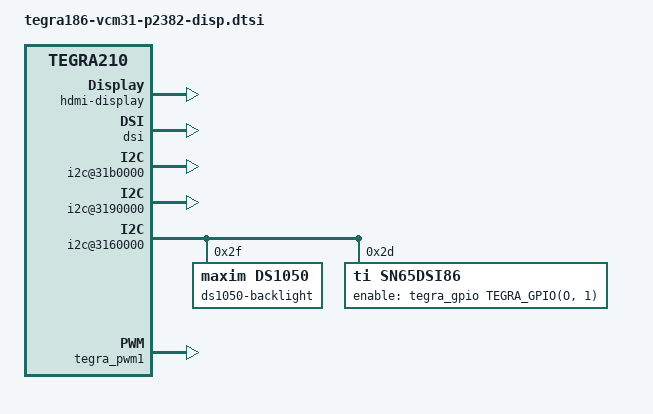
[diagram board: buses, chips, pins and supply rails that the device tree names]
/*
 * tegra186-vcm31-p2382-disp.dtsi: VCM3.1 based P2382(sunstreaker)
 * display dtsi.
 *
 * Copyright (c) 2015-2016, NVIDIA CORPORATION.  All rights reserved.
 *
 * This program is free software; you can redistribute it and/or modify
 * it under the terms of the GNU General Public License as published by
 * the Free Software Foundation; version 2 of the License.
 *
 * This program is distributed in the hope that it will be useful, but WITHOUT
 * ANY WARRANTY; without even the implied warranty of MERCHANTABILITY or
 * FITNESS FOR A PARTICULAR PURPOSE.  See the GNU General Public License for
 * more details.
 */

#include <dt-bindings/display/tegra-dc.h>
#include <dt-bindings/display/tegra-panel.h>

#include "panel-s-wuxga-8-0.dtsi"
#include "tegra210-display-p2393-0000-a00-panel-dsi-1080p.dtsi"
#include "tegra210-display-p2393-0000-a00-panel-dsi-25x16.dtsi"
#include "tegra186-hdmi.dtsi"
#include "tegra186-dp.dtsi"

/ {
	host1x {
		status = "okay";

		nvdisplay@15200000 {
			status = "okay";
			nvidia,dc-flags = <TEGRA_DC_FLAG_ENABLED>;
			nvidia,emc-clk-rate = <300000000>;
			nvidia,fb-bpp = <32>; /* bits per pixel */
			nvidia,fb-win = <0>;
			nvidia,dc-ctrlnum = <0>;
			nvidia,dc-or-node = "/host1x/sor";
		};

		nvdisplay@15210000 {
			status = "okay";
			nvidia,dc-flags = <TEGRA_DC_FLAG_ENABLED>;
			nvidia,emc-clk-rate = <300000000>;
			nvidia,fb-bpp = <32>; /* bits per pixel */
			nvidia,fb-win = <3>;
			nvidia,dc-ctrlnum = <1>;
			nvidia,dc-or-node = "/host1x/sor1";
		};

		sor{
			status = "okay";
			nvidia,xbar-ctrl = <2 1 0 3 4>;
			nvidia,ddc-i2c-bus = <&dp_aux_ch0_i2c>;
			//nvidia,hpd-gpio = <&tegra_gpio TEGRA_GPIO(P, 0) 0>;
			dp-display {
				status = "okay";
				compatible = "dp, display";
				nvidia,is_ext_dp_panel = <1>;

				disp-default-out {
					nvidia,out-type = <TEGRA_DC_OUT_DP>;
					nvidia,out-flags = <TEGRA_DC_OUT_HOTPLUG_HIGH>;
					nvidia,out-parent-clk = "plld3";
					nvidia,out-xres = <4096>;
					nvidia,out-yres = <2160>;
				};
				/* default display timing for test
				 * (only the first entry is effective) */
/*
				display-timings {
					1920x1080-32 {
						clock-frequency = <148500000>;
						hactive = <1920>;
						vactive = <1080>;
						hfront-porch = <88>;
						hback-porch = <148>;
						hsync-len = <44>;
						vfront-porch = <4>;
						vback-porch = <36>;
						vsync-len = <5>;
						nvidia,h-ref-to-sync = <1>;
						nvidia,v-ref-to-sync = <1>;
					};
				};
*/
                                lt-data {
					tegra-dp-vs-regs {
						/* postcursor2 L0 */
						pc2_l0 = <
							/* pre-emphasis: L0, L1, L2, L3 */
							0x13 0x19 0x1e 0x28 /* voltage swing: L0 */
							0x1e 0x25 0x2d /* L1 */
							0x28 0x32 /* L2 */
							0x3c /* L3 */
						>;
						/* postcursor2 L1 */
						pc2_l1 = <
							0x12 0x17 0x1b 0x25
							0x1c 0x23 0x2a
							0x25 0x2f
							0x39
						>;
						/* postcursor2 L2 */
						pc2_l2 = <
							0x12 0x16 0x1a 0x22
							0x1b 0x20 0x27
							0x24 0x2d
							0x36
						>;
						/* postcursor2 L3 */
						pc2_l3 = <
							0x11 0x14 0x17 0x1f
							0x19 0x1e 0x24
							0x22 0x2a
							0x32
						>;
					};
					tegra-dp-pe-regs {
						/* postcursor2 L0 */
						pc2_l0 = <
							/* pre-emphasis: L0, L1, L2, L3 */
							0x00 0x08 0x12 0x24 /* voltage swing: L0 */
							0x01 0x0e 0x1d /* L1 */
							0x01 0x13 /* L2 */
							0x00 /* L3 */
						>;
						/* postcursor2 L1 */
						pc2_l1 = <
							0x00 0x08 0x12 0x24
							0x00 0x0e 0x1d
							0x00 0x13
							0x00
						>;
						/* postcursor2 L2 */
						pc2_l2 = <
							0x00 0x08 0x12 0x24
							0x00 0x0e 0x1d
							0x00 0x13
							0x00
						>;
						/* postcursor2 L3 */
						pc2_l3 = <
							0x00 0x08 0x12 0x24
							0x00 0x0e 0x1d
							0x00 0x13
							0x00
						>;
					};
					tegra-dp-pc-regs {
						/* postcursor2 L0 */
						pc2_l0 = <
							/* pre-emphasis: L0, L1, L2, L3 */
							0x00 0x00 0x00 0x00 /* voltage swing: L0 */
							0x00 0x00 0x00 /* L1 */
							0x00 0x00 /* L2 */
							0x00 /* L3 */
						>;
						/* postcursor2 L1 */
						pc2_l1 = <
							0x02 0x02 0x04 0x05
							0x02 0x04 0x05
							0x04 0x05
							0x05
						>;
						/* postcursor2 L2 */
						pc2_l2 = <
							0x04 0x05 0x08 0x0b
							0x05 0x09 0x0b
							0x08 0x0a
							0x0b
						>;
						/* postcursor2 L3 */
						pc2_l3 = <
							0x05 0x09 0x0b 0x12
							0x09 0x0d 0x12
							0x0b 0x0f
							0x12
						>;
					};
					tegra-dp-tx-pu {
						/* postcursor2 L0 */
						pc2_l0 = <
							/* pre-emphasis: L0, L1, L2, L3 */
							0x20 0x30 0x40 0x60 /* voltage swing: L0 */
							0x30 0x40 0x60 /* L1 */
							0x40 0x60 /* L2 */
							0x60 /* L3 */
						>;
						/* postcursor2 L1 */
						pc2_l1 = <
							0x20 0x20 0x30 0x50
							0x30 0x40 0x50
							0x40 0x50
							0x60
						>;
						/* postcursor2 L2 */
						pc2_l2 = <
							0x20 0x20 0x30 0x40
							0x30 0x30 0x40
							0x40 0x50
							0x60
						>;
						/* postcursor2 L3 */
						pc2_l3 = <
							0x20 0x20 0x20 0x40
							0x30 0x30 0x40
							0x40 0x40
							0x60
						>;
					};
                                };//lt-data
			};
			hdmi-display {
				status = "disabled";
			};
		};

		sor1 {
			status = "okay";
			nvidia,xbar-ctrl = <2 1 0 3 4>;
			nvidia,ddc-i2c-bus = <&dp_aux_ch1_i2c>;
			nvidia,hpd-gpio = <&tegra_gpio TEGRA_GPIO(P, 1) 1>;

			hdmi-display {
				status = "okay";
				compatible = "hdmi,display";

				disp-default-out {
					nvidia,out-type = <TEGRA_DC_OUT_HDMI>;
					nvidia,out-flags = <TEGRA_DC_OUT_HOTPLUG_LOW>;
					nvidia,out-parent-clk = "plld2";
					nvidia,out-align = <TEGRA_DC_ALIGN_MSB>;
					nvidia,out-order = <TEGRA_DC_ORDER_RED_BLUE>;
					nvidia,out-xres = <4096>;
					nvidia,out-yres = <2160>;
				};
				/* default display timing for test
				 * (only the first entry is effective) */
/*
				display-timings {
					1920x1080-32 {
						clock-frequency = <148500000>;
						hactive = <1920>;
						vactive = <1080>;
						hfront-porch = <88>;
						hback-porch = <148>;
						hsync-len = <44>;
						vfront-porch = <4>;
						vback-porch = <36>;
						vsync-len = <5>;
						nvidia,h-ref-to-sync = <1>;
						nvidia,v-ref-to-sync = <1>;
					};
				};
*/
			};

			prod-settings {
				prod_c_54M {
					prod = <
						0x0000058c 0xf0f0f0ff 0x05050000
						0x00000590 0xff0fe0ff 0x00301300
						0x00000598 0x00fff00f 0x38000440
						0x00000138 0x00000000 0x333A3A3A
						0x00000148 0x00000000 0x00000000
						0x000005a0 0xffbf00ff 0x00401000
						0x000005a8 0x00ffffff 0x52000000
					>;
				};
				prod_c_75M {
					prod = <
						0x0000058c 0xf0f0f0ff 0x05050100
						0x00000590 0xff0fe0ff 0x00301300
						0x00000598 0x00fff00f 0x38000440
						0x00000138 0x00000000 0x333A3A3A
						0x00000148 0x00000000 0x00000000
						0x000005a0 0xffbf00ff 0x00404000
						0x000005a8 0x00ffffff 0x42000000
					>;
				};
				prod_c_150M {
					prod = <
						0x0000058c 0xf0f0f0ff 0x05050300
						0x00000590 0xff0fe0ff 0x00301300
						0x00000598 0x00fff00f 0x3C002440
						0x00000138 0x00000000 0x33333333
						0x00000148 0x00000000 0x00000000
						0x000005a0 0xffbf00ff 0x00A06600
						0x000005a8 0x00ffffff 0x32000000
					>;
				};
				prod_c_300M {
					prod = <
						0x0000058c 0xf0f0f0ff 0x05050300
						0x00000590 0xff0fe0ff 0x00301300
						0x00000598 0x00fff00f 0x3C000440
						0x00000138 0x00000000 0x333F3F3F
						0x00000148 0x00000000 0x00070707
						0x000005a0 0xffbf00ff 0x00A06600
						0x000005a8 0x00ffffff 0x32000000
					>;
				};
				prod_c_600M {
					prod = <
						0x0000058c 0xf0f0f0ff 0x05050300
						0x00000590 0xff0fe0ff 0x00301300
						0x00000598 0x00fff00f 0x3C000440
						0x00000138 0x00000000 0x333F3F3F
						0x00000148 0x00000000 0x00070707
						0x000005a0 0xffbf00ff 0x00406600
						0x000005a8 0x00ffffff 0x32000000
					>;
				};
			};
		};

		dpaux@155c0000 {
			status = "okay";
		};
		dpaux@15040000 {
			status = "okay";
		};

		dsi {   /* dsi@15300000 */
			status = "okay";
			nvidia,dsi-controller-vs = <DSI_VS_1>;
			panel-s-wuxga-8-0 {
				status = "disabled";
			};
			panel-dsi-1080p-p2382 {  /* p2393 DSI2DP 1920x1080@60 */
				status = "okay";
				nvidia,dsi-video-burst-mode = <TEGRA_DSI_VIDEO_NONE_BURST_MODE>;
				nvidia,dsi-refresh-rate = <60>;
				nvidia,dsi-edp-bridge = <TEGRA_DSI_ENABLE>;
				nvidia,panel-bridge-en-0-gpio = <&tegra_gpio TEGRA_GPIO(O, 1) 0>; /* PO1 */

				/*
				 * for 1920x1080@60Hz@148.5MHz / DSI 4 lanes 445.5MHz HS clk
				 */
				/*
				nvidia,dsi-n-data-lanes = <4>;
				disp-default-out {
					nvidia,out-type = <TEGRA_DC_OUT_DSI>;
					nvidia,out-flags = <TEGRA_DC_OUT_CONTINUOUS_MODE>;
					nvidia,out-parent-clk = "pll_d_out1";
					nvidia,out-xres = <1920>;
					nvidia,out-yres = <1080>;
				};
				display-timings {
					1920x1080-32 {
						clock-frequency = <148500000>;
					};
				};
				*/

				/*
				 * for 1920x1200@60Hz@193.2MHz / DSI 8 lanes 290MHz HS clk
				 * (closest to Quill DSI config. this works without BPMP pll_d preset)
				 */
				nvidia,dsi-n-data-lanes = <8>;
				nvidia,dsi-ganged-type = <TEGRA_DSI_GANGED_SYMMETRIC_LEFT_RIGHT>;
				nvidia,dsi-ganged-swap-links = <0>;
				nvidia,dsi-ganged-write-to-all-links = <1>;
				disp-default-out {
					nvidia,out-type = <TEGRA_DC_OUT_DSI>;
					nvidia,out-flags = <TEGRA_DC_OUT_CONTINUOUS_MODE>;
					nvidia,out-parent-clk = "pll_d_out1";
					nvidia,out-xres = <1920>;
					nvidia,out-yres = <1200>;
				};
				display-timings {
					1920x1080-32 {
						clock-frequency = <193155840>;
						hactive = <1920>;
						vactive = <1200>;
						hfront-porch = <228>;
						hsync-len = <208>;
						hback-porch = <236>;
						vfront-porch = <3>;
						vsync-len = <3>;
						vback-porch = <36>;
						nvidia,h-ref-to-sync = <1>;
						nvidia,v-ref-to-sync = <1>;
					};
				};

			};
			panel-s-wqxga-10-1 {  /* p2393 DSI2DP 2560x1600@60 */
				status = "disabled";
				nvidia,dsi-edp-bridge = <TEGRA_DSI_ENABLE>;
				nvidia,panel-bridge-en-0-gpio = <&tegra_gpio TEGRA_GPIO(O, 1) 0>; /* PO1 */
				nvidia,dsi-n-data-lanes = <8>;
				nvidia,dsi-ganged-type = <TEGRA_DSI_GANGED_SYMMETRIC_LEFT_RIGHT>;
				nvidia,dsi-ganged-swap-links = <0>;
				nvidia,dsi-ganged-write-to-all-links = <1>;
				disp-default-out {
					nvidia,out-type = <TEGRA_DC_OUT_DSI>;
					nvidia,out-flags = <TEGRA_DC_OUT_CONTINUOUS_MODE>;
					nvidia,out-parent-clk = "pll_d_out1";
					nvidia,out-xres = <2560>;
					nvidia,out-yres = <1600>;
				};
				display-timings {
					2560x1600-32 {
						clock-frequency = <268500000>;
						hactive = <2560>;
						vactive = <1600>;
						hfront-porch = <48>;
						hback-porch = <80>;
						hsync-len = <32>;
						vfront-porch = <3>;
						vback-porch = <37>;
						vsync-len = <6>;
						nvidia,h-ref-to-sync = <0>;
						nvidia,v-ref-to-sync = <1>;
					};
				};
			};
		};
	};

	i2c@31b0000 {  //i2c5, dp_aux_ch0_i2c
		status = "okay";
	};
	i2c@3190000 {  //i2c3, dp_aux_ch1_i2c
		status = "okay";
	};

	i2c@3160000 { /* Tegra I2C0 - VCM I2CA */
		ds1050-backlight@2f {
			 compatible = "maxim,ds1050";
			 reg = <0x2f>;
			 status = "okay";
		};
	};

	/*
	 * for P2393 SN65DSI86 DSI-to-DP bridge
	 */
	mipical {
		status = "okay";
	};

	backlight {
		pwms = <&tegra_pwm1 0 40161>;
		panel-s-wuxga-8-0-bl {
			pwms = <&tegra_pwm1 0 40161>;
		};
		panel-s-wqxga-10-1-bl {
			pwms = <&tegra_pwm1 0 40161>;
		};
	};
	tegra_pwm1: pwm@3280000 {
		status = "okay";
	};

	i2c@3160000 { /* GEN1 */
		status = "okay";
		/*
		 * 1920x1080@148.5MHz DSI 4 lanes HS clk 445.5MHz
		 */
		/*
		sn65dsi86@2d {
			compatible = "ti,sn65dsi86";
			reg = <0x2d>;
			status = "okay";
			ti,enable-gpio = <&tegra_gpio TEGRA_GPIO(O, 1) 0>;
			ti,pll-refclk-cfg = <0x4>;
			ti,dsi-cha-clk-range = <0x59>;
			ti,disable-assr = <1>;
			ti,dp-ssc-cfg = <0x30>;
			ti,h-pulse-width-low = <0x2c>;
			ti,h-pulse-width-high = <0x80>;
			ti,v-pulse-width-low = <0x05>;
			ti,v-pulse-width-high = <0x80>;
			ti,h-back-porch = <0x94>;
			ti,v-back-porch = <0x24>;
			ti,h-front-porch = <0x58>;
			ti,v-front-porch = <0x04>;
		};
		*/
		/*
		 * 1920x1200@193.2Hz DSI 8 lanes HS clk 290MHz
		 */
		sn65dsi86@2d {
			compatible = "ti,sn65dsi86";
			reg = <0x2d>;
			status = "okay";
			ti,enable-gpio = <&tegra_gpio TEGRA_GPIO(O, 1) 0>;
			ti,pll-refclk-cfg = <0x4>;
			ti,dsi-cfg1 = <0x80>;
			ti,dsi-cha-clk-range = <0x3a>;
			ti,dsi-chb-clk-range = <0x3a>;
			ti,disable-assr = <1>;
			ti,dp-ssc-cfg = <0x30>;
			ti,video-cha-line-low = <0xc0>;
			ti,video-cha-line-high = <0x03>;
			ti,video-chb-line-low = <0xc0>;
			ti,video-chb-line-high = <0x03>;
			ti,cha-vert-disp-size-low = <0xb0>;
			ti,cha-vert-disp-size-high = <0x4>;
			ti,h-pulse-width-low = <0xd0>;
			ti,h-pulse-width-high = <0x80>;
			ti,v-pulse-width-low = <0x03>;
			ti,v-pulse-width-high = <0x00>;
			ti,h-back-porch = <0xec>;
			ti,v-back-porch = <0x24>;
			ti,h-front-porch = <0xe4>;
			ti,v-front-porch = <0x03>;
		};
		/*
		 * 2560x1600@60Hz DSI 8 lanes
		 */
		/*
		sn65dsi86@2d {
			compatible = "ti,sn65dsi86";
			reg = <0x2d>;
			status = "okay";
			ti,enable-gpio = <&tegra_gpio TEGRA_GPIO(O, 1) 0>;
			ti,pll-refclk-cfg = <0x4>;
			ti,dsi-cfg1 = <0x80>;
			ti,dsi-cha-clk-range = <0x50>;
			ti,dsi-chb-clk-range = <0x50>;
			ti,disable-assr = <1>;
			ti,dp-ssc-cfg = <0x30>;
			ti,video-cha-line-low = <0x0>;
			ti,video-cha-line-high = <0x05>;
			ti,video-chb-line-low = <0x0>;
			ti,video-chb-line-high = <0x05>;
			ti,cha-vert-disp-size-low = <0x40>;
			ti,cha-vert-disp-size-high = <0x6>;
			ti,h-pulse-width-low = <0x20>;
			ti,h-pulse-width-high = <0x80>;
			ti,v-pulse-width-low = <0x06>;
			ti,v-pulse-width-high = <0x0>;
			ti,h-back-porch = <0x50>;
			ti,v-back-porch = <0x25>;
			ti,h-front-porch = <0x30>;
			ti,v-front-porch = <0x03>;
		};
		*/
	};

};
